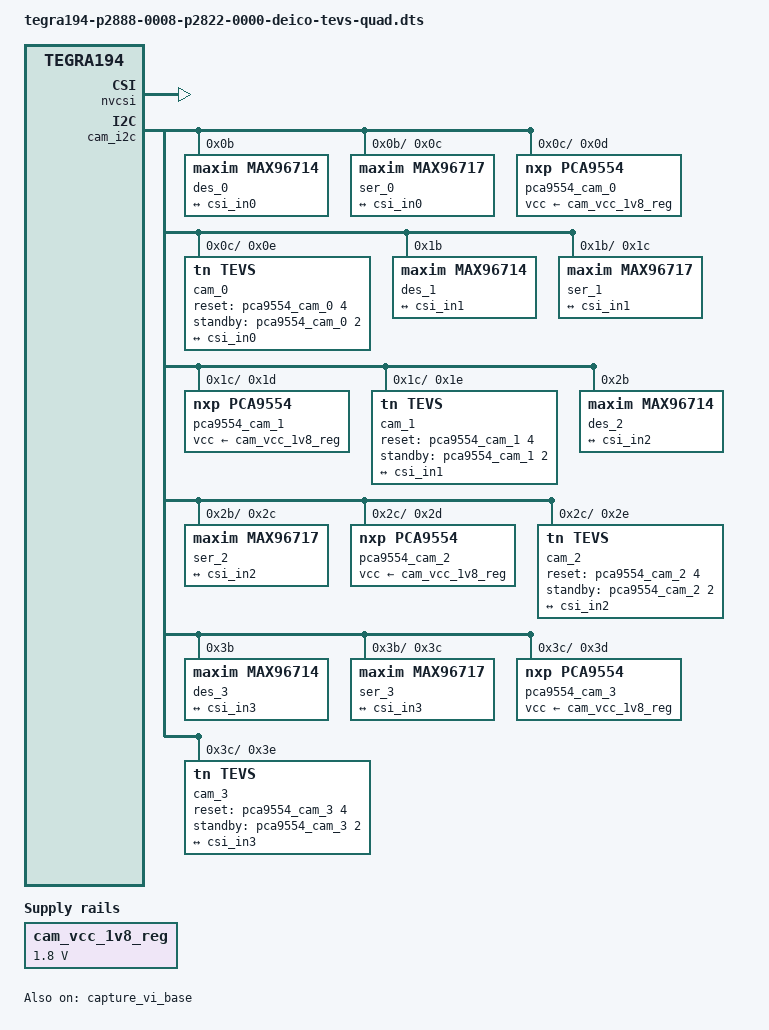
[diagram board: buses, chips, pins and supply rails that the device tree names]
// File: tegra194-p2888-0008-p2822-0000-deico-tevs-quad.dts
// DTS file hooking up a four cameras to all of the channels
// All four deserializer channels work at Pixel Mode

/dts-v1/;

#include "tegra194-p2888-0008-p2822-0000.dts"

#define CAM_LANES 			4          // number of CSI lanes used by each camera
#define CAM_LANES_STRING 	"4"
#define GMSL_CAM_NUM 		4	       // equals to number of cameras can be connected to your board
#define TOTAL_CSI_LANES 	(GMSL_CAM_NUM * CAM_LANES)
#define DES_LINK_FREQ 		1000000000 // min: 100000000, max: 1250000000, currently: 1GHz
#define CSI_FREQ 			500       // min: 100, max: 1200

/ {
	/*
	 * This is a new, virtual regulator definition that describes the
	 * discrete, always-on 1.8V power supply for our camera components.
	 * It does not control any hardware, it just provides a valid
	 * handle for drivers that require a power supply dependency.
	 */
	fixed-regulators {

		cam_vcc_1v8_reg: fixed-regulator-cam-1v8 {
			compatible = "regulator-fixed";
			regulator-name = "fixed-1.8v-cam-power";
			regulator-min-microvolt = <1800000>;
			regulator-max-microvolt = <1800000>;
			regulator-always-on;
		};
	};
};


&capture_vi_base { // /tegra-capture-vi
	status = "okay";
	num-channels = <GMSL_CAM_NUM>;

	ports {
		#address-cells = <1>;
		#size-cells = <0>;

		port@0 {
			status = "okay";
			
			endpoint {	// vi_in0
				port-index = <0>;
				bus-width = <CAM_LANES>;
				remote-endpoint = <&csi_out0>;
				vc-id = <0x00>;
				status = "okay";
			};
		};

		port@1 {
			status = "okay";
			
			endpoint {	// vi_in1
				port-index = <2>;
				bus-width = <CAM_LANES>;
				remote-endpoint = <&csi_out1>;
				vc-id = <0x00>;
				status = "okay";
			};
		};

		port@2 {
			status = "okay";
			
			endpoint {	// vi_in2
				port-index = <4>;
				bus-width = <CAM_LANES>;
				remote-endpoint = <&csi_out2>;
				vc-id = <0x00>;
				status = "okay";
			};
		};

		port@3 {
			status = "okay";
			
			endpoint {	// vi_in3
				port-index = <5>;	//Should match stream-index of vi
				bus-width = <CAM_LANES>;
				remote-endpoint = <&csi_out3>;
				vc-id = <0x00>;
				status = "okay";
			};
		};
	};
};

&nvcsi { // /host1x@13e00000/nvcsi@15a00000
	status = "okay";
	num-channels = <GMSL_CAM_NUM>;

	channel@0 {
		status = "okay";

		ports {

			port@0 { // Sink port
				status = "okay";

				endpoint@0 {	// csi_in0
					port-index = <0>;
					bus-width = <CAM_LANES>;
					remote-endpoint = <&rpi22_tevs_0_out>;
					status = "okay";
				};
			};
			
			port@1 { // Source port
				status = "okay";

				endpoint@1 {	//csi_out0
					remote-endpoint = <&vi_in0>;
					status = "okay";
				};
			};
		};
	};

	channel@1 {
		status = "okay";

		ports {

			port@0 { // Sink port
				status = "okay";

				endpoint@2 {	// csi_in1
					port-index = <2>;
					bus-width = <CAM_LANES>;
					remote-endpoint = <&rpi22_tevs_1_out>;
					status = "okay";
				};
			};

			port@1 { // Source port
				status = "okay";

				endpoint@3 {	//csi_out1
					remote-endpoint = <&vi_in1>;
					status = "okay";
				};
			};
		};
	};
	
	channel@2 {
		status = "okay";

		ports {

			port@0 { // Sink port
				status = "okay";

				endpoint@4 {	// csi_in2
					port-index = <4>;
					bus-width = <CAM_LANES>;
					remote-endpoint = <&rpi22_tevs_2_out>;
					status = "okay";
				};
			};

			port@1 { // Source port
				status = "okay";

				endpoint@5 {	//csi_out2
					remote-endpoint = <&vi_in2>;
					status = "okay";
				};
			};
		};
	};
	
	channel@3 {
		status = "okay";

		ports {

			port@0 { // Sink port
				status = "okay";

				endpoint@6 {	// csi_in3
					port-index = <6>;
					bus-width = <CAM_LANES>;
					remote-endpoint = <&rpi22_tevs_3_out>;
					status = "okay";
				};
			};

			port@1 { // Source port
				status = "okay";

				endpoint@7 {	//csi_out3
					remote-endpoint = <&vi_in3>;
					status = "okay";
				};
			};
		};
	};
};

&tcp { // /tegra-camera-platform
	num_csi_lanes = <TOTAL_CSI_LANES>;	// total number of CSI lanes used by all cameras (4x1)
	max_lane_speed = <4000000>;
	min_bits_per_pixel = <16>;			// only this is updated
	vi_peak_byte_per_pixel = <2>;
	vi_bw_margin_pct = <25>;
	//max_pixel_rate = <240000>;
	//isp_peak_byte_per_pixel = <5>;
	//isp_bw_margin_pct = <25>;
	//tpg_max_iso = <0x3bc400>;

	modules {

		module0 {
			badge = "tevs_front";
			position = "front";
			//orientation = "1";
			status = "okay";

			drivernode0 {
				pcl_id = "v4l2_sensor";
				devname = "VLS-GM2-AR0234-Camera-1";
				proc-device-tree = "/proc/device-tree/i2c@3180000/gmsl-deserializer@0b/i2c@0/gmsl-serializer@0c/i2c@0/rpi22_tevs_0@0e";
				status = "okay";
			};
		};

		module1 {
			badge = "tevs_right";
			position = "right";
			//orientation = "1";
			status = "okay";

			drivernode0 {
				pcl_id = "v4l2_sensor";
				devname = "VLS-GM2-AR0234-Camera-2";
				proc-device-tree = "/proc/device-tree/i2c@3180000/gmsl-deserializer@1b/i2c@0/gmsl-serializer@1c/i2c@0/rpi22_tevs_1@1e";
				status = "okay";
			};
		};

		module2 {
			badge = "tevs_left";
			position = "left";
			//orientation = "1";
			status = "okay";

			drivernode0 {
				pcl_id = "v4l2_sensor";
				devname = "VLS-GM2-AR0234-Camera-3";
				proc-device-tree = "/proc/device-tree/i2c@3180000/gmsl-deserializer@2b/i2c@0/gmsl-serializer@2c/i2c@0/rpi22_tevs_2@2e";
				status = "okay";
			};
		};

		module3 {
			badge = "tevs_rear";
			position = "rear";
			//orientation = "1";
			status = "okay";

			drivernode0 {
				pcl_id = "v4l2_sensor";
				devname = "VLS-GM2-AR0234-Camera-4";
				proc-device-tree = "/proc/device-tree/i2c@3180000/gmsl-deserializer@3b/i2c@0/gmsl-serializer@3c/i2c@0/rpi22_tevs_3@3e";
				status = "okay";
			};
		};

	};
};

&cam_i2c { // /i2c@31800000
	status = "okay";

	des_0: gmsl-deserializer@0x0b {

		status = "okay";
		#address-cells = <1>;
		#size-cells = <0>;
		compatible = "maxim,max96714";
		reg = <0x0b>;
		phy-reg = <0x28>; // deserializer power-on I2C address, this address is instantly changed to 0x4a

		//reset-gpios = <&gpio CAM0_PWDN GPIO_ACTIVE_LOW>; // this will give a warning, add a dummy GPIO later

		i2c-addr-alias-map-local = <0x0c>;		// virtual I2C addresses assigned to the serializer
		i2c-addr-alias-map-remote = <0x40>; 	// actual I2C address of the serializer
		i2c-addr-alias-source-id = <0>;

		gpio-controller;
		#gpio-cells = <2>;
		gpio-ranges = <&des_0 0 0 12>;

		pinctrl-names = "default";
		pinctrl-0 = <&des_0_pinmux_default>;

		// Uncomment if you have frame sync feature:
		//fsync-mode = "external";

		des_0_pinmux_default: pinmux {
			mfp0_fsync {
				pins = "mfp0";
				function = "gpio";
				maxim,gmsl-tx = <1>;
				maxim,gmsl-tx-id = <0>;
				input-enable;
			};
		};

		// This basically uses the deserializer as a i2c mux device. 
		// Other parameters are for generic i2c-mux devices.
		i2c-mux { 

			#address-cells = <1>;
			#size-cells = <0>;

			compatible = "i2c-mux-gpio";
			i2c-parent = <&cam_i2c>;
			//mux-gpios = <&gpio_aon CAM_I2C_MUX GPIO_ACTIVE_HIGH>; //this is just to make the kernel happy, not necessary

			des_0_i2c_0: i2c@0 {
				#address-cells = <1>;
				#size-cells = <0>;

				reg = <0>;
			};
		};

		phy@0 {
			reg = <0>;
		};

		pipe@0 {
			reg = <0>;

			maxim,phy-id = <0>;
		};

		channel@0 {
			reg = <0>;
			label = "des_0_ch_0";

			maxim,phy-id = <0>;
			// Uncomment below to activate tunnel-mode otherwise, pixel-mode is selected
			//maxim,tunnel-mode; 

			clock-lanes = <0>;
			data-lanes = <1 2 3 4>;
			link-frequencies = /bits/ 64 <DES_LINK_FREQ>;
		};
	};

	des_1: gmsl-deserializer@0x1b {

		status = "okay";
		#address-cells = <1>;
		#size-cells = <0>;
		compatible = "maxim,max96714";
		reg = <0x1b>;
		phy-reg = <0x2a>; // deserializer power-on I2C address

		i2c-addr-alias-map-local = <0x1c>;		// virtual I2C addresses assigned to the serializer
		i2c-addr-alias-map-remote = <0x40>; 	// actual I2C address of the serializer
		i2c-addr-alias-source-id = <0>;

		gpio-controller;
		#gpio-cells = <2>;
		gpio-ranges = <&des_1 0 0 12>;

		pinctrl-names = "default";
		pinctrl-0 = <&des_1_pinmux_default>;

		// fsync-mode = "external";

		des_1_pinmux_default: pinmux {
			mfp0_fsync {
				pins = "mfp0";
				function = "gpio";
				maxim,gmsl-tx = <1>;
				maxim,gmsl-tx-id = <0>;
				input-enable;
			};
		};

		i2c-mux { 

			#address-cells = <1>;
			#size-cells = <0>;

			compatible = "i2c-mux-gpio";
			i2c-parent = <&cam_i2c>;

			des_1_i2c_0: i2c@0 {
				#address-cells = <1>;
				#size-cells = <0>;

				reg = <0>;
			};
		};

		phy@0 {
			reg = <0>;
		};

		pipe@0 {
			reg = <0>;

			maxim,phy-id = <0>;
		};

		channel@0 {
			reg = <0>;
			label = "des_1_ch_0";

			maxim,phy-id = <0>;
			// Uncomment below to activate tunnel-mode otherwise, pixel-mode is selected
			//maxim,tunnel-mode;

			clock-lanes = <0>;
			data-lanes = <1 2 3 4>;
			link-frequencies = /bits/ 64 <DES_LINK_FREQ>;
		};
	};

	des_2: gmsl-deserializer@0x2b {

		status = "okay";
		#address-cells = <1>;
		#size-cells = <0>;
		compatible = "maxim,max96714";
		reg = <0x2b>;
		phy-reg = <0x4c>; // deserializer power-on I2C address

		i2c-addr-alias-map-local = <0x2c>;		// virtual I2C addresses assigned to the serializer
		i2c-addr-alias-map-remote = <0x40>; 	// actual I2C address of the serializer
		i2c-addr-alias-source-id = <0>;

		gpio-controller;
		#gpio-cells = <2>;
		gpio-ranges = <&des_2 0 0 12>;

		pinctrl-names = "default";
		pinctrl-0 = <&des_2_pinmux_default>;

		// fsync-mode = "external";

		des_2_pinmux_default: pinmux {
			mfp0_fsync {
				pins = "mfp0";
				function = "gpio";
				maxim,gmsl-tx = <1>;
				maxim,gmsl-tx-id = <0>;
				input-enable;
			};
		};

		i2c-mux { 

			#address-cells = <1>;
			#size-cells = <0>;

			compatible = "i2c-mux-gpio";
			i2c-parent = <&cam_i2c>;

			des_2_i2c_0: i2c@0 {
				#address-cells = <1>;
				#size-cells = <0>;

				reg = <0>;
			};
		};

		phy@0 {
			reg = <0>;
		};

		pipe@0 {
			reg = <0>;

			maxim,phy-id = <0>;
		};

		channel@0 {
			reg = <0>;
			label = "des_2_ch_0";

			maxim,phy-id = <0>;
			// Uncomment below to activate tunnel-mode otherwise, pixel-mode is selected
			//maxim,tunnel-mode;

			clock-lanes = <0>;
			data-lanes = <1 2 3 4>;
			link-frequencies = /bits/ 64 <DES_LINK_FREQ>;
		};
	};

	des_3: gmsl-deserializer@0x3b {

		status = "okay";
		#address-cells = <1>;
		#size-cells = <0>;
		compatible = "maxim,max96714";
		reg = <0x3b>;
		phy-reg = <0x6a>; // deserializer power-on I2C address

		i2c-addr-alias-map-local = <0x3c>;		// virtual I2C addresses assigned to the serializer
		i2c-addr-alias-map-remote = <0x40>; 	// actual I2C address of the serializer
		i2c-addr-alias-source-id = <0>;

		gpio-controller;
		#gpio-cells = <2>;
		gpio-ranges = <&des_3 0 0 12>;

		pinctrl-names = "default";
		pinctrl-0 = <&des_3_pinmux_default>;

		// fsync-mode = "external";

		des_3_pinmux_default: pinmux {
			mfp0_fsync {
				pins = "mfp0";
				function = "gpio";
				maxim,gmsl-tx = <1>;
				maxim,gmsl-tx-id = <0>;
				input-enable;
			};
		};

		i2c-mux { 

			#address-cells = <1>;
			#size-cells = <0>;

			compatible = "i2c-mux-gpio";
			i2c-parent = <&cam_i2c>;

			des_3_i2c_0: i2c@0 {
				#address-cells = <1>;
				#size-cells = <0>;

				reg = <0>;
			};
		};

		phy@0 {
			reg = <0>;
		};

		pipe@0 {
			reg = <0>;

			maxim,phy-id = <0>;
		};

		channel@0 {
			reg = <0>;
			label = "des_3_ch_0";

			maxim,phy-id = <0>;
			// Uncomment below to activate tunnel-mode otherwise, pixel-mode is selected
			//maxim,tunnel-mode;

			clock-lanes = <0>;
			data-lanes = <1 2 3 4>;
			link-frequencies = /bits/ 64 <DES_LINK_FREQ>;
		};
	};
};

// SER0 -> CAM0 starts here
&des_0_i2c_0 {

	ser_0: gmsl-serializer@0c {
		status = "okay";
		#address-cells = <1>;
		#size-cells = <0>;
		compatible = "maxim,max96717";
		reg = <0x0c>;

		// i2c addr alias map "isp, gpio expander"
		i2c-addr-alias-map-local = <0x0e 0x0d>;	// virtual I2C addresses assigned to the devices
		i2c-addr-alias-map-remote = <0x48 0x25>;// actual I2C addresses of the devices

		gpio-controller;
		#gpio-cells = <2>;
		gpio-ranges = <&ser_0 0 0 11>;
		// Uncomment below to activate tunnel-mode otherwise, pixel-mode is selected
		//maxim,tunnel-mode;

		pinctrl-names = "default";
		pinctrl-0 = <&ser_0_pinmux_default>;

		ser_0_pinmux_default: pinmux {
			mfp0_fsync {
				pins = "mfp0";
				function = "gpio";
				maxim,gmsl-rx = <1>;
				maxim,gmsl-rx-id = <0>;
				output-enable;
				output-low;
			};
		};

		i2c-mux {
			#address-cells = <1>;
			#size-cells = <0>;

			compatible = "i2c-mux-gpio";
			i2c-parent = <&cam_i2c>;
			//mux-gpios = <&gpio_aon CAM_I2C_MUX GPIO_ACTIVE_HIGH>;

			ser_0_i2c_0: i2c@0 {
				#address-cells = <1>;
				#size-cells = <0>;

				reg = <0>;
			};
		};

		pipe@0 {
			reg = <0>;

			maxim,stream-id = <0>;
		};

		channel@0 {
			reg = <0>;
			label = "ser_0_ch_0";

			clock-lanes = <0>;
			data-lanes = <1 2 3 4>;
			clock-noncontinuous;
		};
	};
};

&ser_0_i2c_0 {
	pca9554_cam_0: pca9554@0d {
		compatible = "nxp,pca9554";
		reg = <0x0d>;
		gpio-controller;
		#gpio-cells = <2>;
		gpio-line-names = "EXPOSURE_TRIG_IN",
						"FLASH_OUT",
						"INFO_TRIG_IN",
						"CAMA_SHUTTER",
						"CSI_P1_nRST",
						"PWR_TIME0",
						"PWR_TIME1",
						"3V3_EN";
		vcc-supply = <&cam_vcc_1v8_reg>;
		vcc_lp = "vcc";
		status = "okay";
	};

	cam_0: rpi22_tevs_0@0e {
		compatible = "tn,tevs";
		reg = <0x0e>;
		status = "okay";

		reset-gpios = <&pca9554_cam_0 4 GPIO_ACTIVE_HIGH>;
		standby-gpios = <&pca9554_cam_0 2 GPIO_ACTIVE_HIGH>;
		data-lanes = <CAM_LANES>;
		data-frequency = <CSI_FREQ>;

		/* V4L2 device node location */
		devnode = "video0";
		/* Physical dimensions of sensor */
		physical_w = "3.680";
		physical_h = "2.760";
		sensor_model = "tevs";
		use_sensor_mode_id = "false";

		mode0 {
			mclk_khz = "24000";
			num_lanes = CAM_LANES_STRING;
			tegra_sinterface = "serial_a";
			phy_mode = "DPHY";
			discontinuous_clk = "yes";
			dpcm_enable = "false";
			cil_settletime = "0";

			active_w = "3280";
			active_h = "2464";
			mode_type = "yuv";
			pixel_phase = "uyvy";
			csi_pixel_bit_depth = "16";
			readout_orientation = "90";
			line_length = "3448";
			inherent_gain = "1";
			mclk_multiplier = "9.33";
			pix_clk_hz = "200000000";
			serdes_pix_clk_hz = "500000000";

			gain_factor = "16";
			framerate_factor = "1000000";
			exposure_factor = "1000000";
			min_gain_val = "16"; /* 1.00x */
			max_gain_val = "170"; /* 10.66x */
			step_gain_val = "1";
			default_gain = "16"; /* 1.00x */
			min_hdr_ratio = "1";
			max_hdr_ratio = "1";
			min_framerate = "2000000"; /* 2.0 fps */
			max_framerate = "21000000"; /* 21.0 fps */
			step_framerate = "1";
			default_framerate = "21000000"; /* 21.0 fps */
			min_exp_time = "13"; /* us */
			max_exp_time = "683709"; /* us */
			step_exp_time = "1";
			default_exp_time = "2495"; /* us */
			embedded_metadata_height = "0";
		};
		mode1 {
			mclk_khz = "24000";
			num_lanes = CAM_LANES_STRING;
			tegra_sinterface = "serial_a";
			phy_mode = "DPHY";
			discontinuous_clk = "yes";
			dpcm_enable = "false";
			cil_settletime = "0";

			active_w = "3280";
			active_h = "1848";
			mode_type = "yuv";
			pixel_phase = "uyvy";
			csi_pixel_bit_depth = "16";
			readout_orientation = "90";
			line_length = "3448";
			inherent_gain = "1";
			mclk_multiplier = "9.33";
			pix_clk_hz = "200000000";
			serdes_pix_clk_hz = "500000000";

			gain_factor = "16";
			framerate_factor = "1000000";
			exposure_factor = "1000000";
			min_gain_val = "16"; /* 1.00x */
			max_gain_val = "170"; /* 10.66x */
			step_gain_val = "1";
			default_gain = "16"; /* 1.00x */
			min_hdr_ratio = "1";
			max_hdr_ratio = "1";
			min_framerate = "2000000"; /* 2.0 fps */
			max_framerate = "28000000"; /* 28.0 fps */
			step_framerate = "1";
			default_framerate = "28000000"; /* 28.0 fps */
			min_exp_time = "13"; /* us */
			max_exp_time = "683709"; /* us */
			step_exp_time = "1";
			default_exp_time = "2495"; /* us */
			embedded_metadata_height = "0";
		};
		mode2 {
			mclk_khz = "24000";
			num_lanes = CAM_LANES_STRING;
			tegra_sinterface = "serial_a";
			phy_mode = "DPHY";
			discontinuous_clk = "yes";
			dpcm_enable = "false";
			cil_settletime = "0";

			active_w = "1920";
			active_h = "1080";
			mode_type = "yuv";
			pixel_phase = "uyvy";
			csi_pixel_bit_depth = "16";
			readout_orientation = "90";
			line_length = "3448";
			inherent_gain = "1";
			mclk_multiplier = "9.33";
			pix_clk_hz = "200000000";
			serdes_pix_clk_hz = "500000000";

			gain_factor = "16";
			framerate_factor = "1000000";
			exposure_factor = "1000000";
			min_gain_val = "16"; /* 1.00x */
			max_gain_val = "170"; /* 10.66x */
			step_gain_val = "1";
			default_gain = "16"; /* 1.00x */
			min_hdr_ratio = "1";
			max_hdr_ratio = "1";
			min_framerate = "2000000"; /* 2.0 fps */
			max_framerate = "30000000"; /* 30.0 fps */
			step_framerate = "1";
			default_framerate = "30000000"; /* 30.0 fps */
			min_exp_time = "13"; /* us */
			max_exp_time = "683709"; /* us */
			step_exp_time = "1";
			default_exp_time = "2495"; /* us */
			embedded_metadata_height = "0";
		};
		mode3 {
			mclk_khz = "24000";
			num_lanes = CAM_LANES_STRING;
			tegra_sinterface = "serial_a";
			phy_mode = "DPHY";
			discontinuous_clk = "yes";
			dpcm_enable = "false";
			cil_settletime = "0";

			active_w = "1640";
			active_h = "1232";
			mode_type = "yuv";
			pixel_phase = "uyvy";
			csi_pixel_bit_depth = "16";
			readout_orientation = "90";
			line_length = "3448";
			inherent_gain = "1";
			mclk_multiplier = "9.33";
			pix_clk_hz = "200000000";
			serdes_pix_clk_hz = "500000000";

			gain_factor = "16";
			framerate_factor = "1000000";
			exposure_factor = "1000000";
			min_gain_val = "16"; /* 1.00x */
			max_gain_val = "170"; /* 10.66x */
			step_gain_val = "1";
			default_gain = "16"; /* 1.00x */
			min_hdr_ratio = "1";
			max_hdr_ratio = "1";
			min_framerate = "2000000"; /* 2.0 fps */
			max_framerate = "30000000"; /* 60.0 fps */
			step_framerate = "1";
			default_framerate = "30000000"; /* 60.0 fps */
			min_exp_time = "13"; /* us */
			max_exp_time = "683709"; /* us */
			step_exp_time = "1";
			default_exp_time = "2495"; /* us */
			embedded_metadata_height = "0";
		};
		mode4 {
			mclk_khz = "24000";
			num_lanes = CAM_LANES_STRING;
			tegra_sinterface = "serial_a";
			phy_mode = "DPHY";
			discontinuous_clk = "yes";
			dpcm_enable = "false";
			cil_settletime = "0";

			active_w = "1280";
			active_h = "720";
			mode_type = "yuv";
			pixel_phase = "uyvy";
			csi_pixel_bit_depth = "16";
			readout_orientation = "90";
			line_length = "3448";
			inherent_gain = "1";
			mclk_multiplier = "9.33";
			pix_clk_hz = "200000000";
			serdes_pix_clk_hz = "500000000";

			gain_factor = "16";
			framerate_factor = "1000000";
			exposure_factor = "1000000";
			min_gain_val = "16"; /* 1.00x */
			max_gain_val = "170"; /* 10.66x */
			step_gain_val = "1";
			default_gain = "16"; /* 1.00x */
			min_hdr_ratio = "1";
			max_hdr_ratio = "1";
			min_framerate = "2000000"; /* 2.0 fps */
			max_framerate = "60000000"; /* 60.0 fps */
			step_framerate = "1";
			default_framerate = "60000000"; /* 60.0 fps */
			min_exp_time = "13"; /* us */
			max_exp_time = "683709"; /* us */
			step_exp_time = "1";
			default_exp_time = "2495"; /* us */
			embedded_metadata_height = "0";
		};
		mode5 {
			mclk_khz = "24000";
			num_lanes = CAM_LANES_STRING;
			tegra_sinterface = "serial_a";
			phy_mode = "DPHY";
			discontinuous_clk = "yes";
			dpcm_enable = "false";
			cil_settletime = "0";

			active_w = "640";
			active_h = "480";
			mode_type = "yuv";
			pixel_phase = "uyvy";
			csi_pixel_bit_depth = "16";
			readout_orientation = "90";
			line_length = "3448";
			inherent_gain = "1";
			mclk_multiplier = "9.33";
			pix_clk_hz = "200000000";
			serdes_pix_clk_hz = "500000000";

			gain_factor = "16";
			framerate_factor = "1000000";
			exposure_factor = "1000000";
			min_gain_val = "16"; /* 1.00x */
			max_gain_val = "170"; /* 10.66x */
			step_gain_val = "1";
			default_gain = "16"; /* 1.00x */
			min_hdr_ratio = "1";
			max_hdr_ratio = "1";
			min_framerate = "2000000"; /* 2.0 fps */
			max_framerate = "60000000"; /* 60.0 fps */
			step_framerate = "1";
			default_framerate = "60000000"; /* 60.0 fps */
			min_exp_time = "13"; /* us */
			max_exp_time = "683709"; /* us */
			step_exp_time = "1";
			default_exp_time = "2495"; /* us */
			embedded_metadata_height = "0";
		};
		ports {
			#address-cells = <1>;
			#size-cells = <0>;
			port@0 {
				reg = <0>;

				rpi22_tevs_0_out: endpoint {
					port-index = <0>;
					bus-width = <CAM_LANES>;
					remote-endpoint = <&csi_in0>;
				};
			};
		};
	};
};
// SER0 -> CAM0 ends here

// SER1 -> CAM1 starts here
&des_1_i2c_0 {

	ser_1: gmsl-serializer@1c {
		status = "okay";
		#address-cells = <1>;
		#size-cells = <0>;
		compatible = "maxim,max96717";
		reg = <0x1c>;

		// i2c addr alias map "isp, gpio expander"
		i2c-addr-alias-map-local = <0x1e 0x1d>;	// virtual I2C addresses assigned to the devices
		i2c-addr-alias-map-remote = <0x48 0x25>;// actual I2C addresses of the devices

		gpio-controller;
		#gpio-cells = <2>;
		gpio-ranges = <&ser_1 0 0 11>;
		// Uncomment below to activate tunnel-mode otherwise, pixel-mode is selected
		//maxim,tunnel-mode;

		pinctrl-names = "default";
		pinctrl-0 = <&ser_1_pinmux_default>;

		ser_1_pinmux_default: pinmux {
			mfp0_fsync {
				pins = "mfp0";
				function = "gpio";
				maxim,gmsl-rx = <1>;
				maxim,gmsl-rx-id = <0>;
				output-enable;
				output-low;
			};
		};

		i2c-mux {
			#address-cells = <1>;
			#size-cells = <0>;

			compatible = "i2c-mux-gpio";
			i2c-parent = <&cam_i2c>;

			ser_1_i2c_0: i2c@0 {
				#address-cells = <1>;
				#size-cells = <0>;

				reg = <0>;
			};
		};

		pipe@0 {
			reg = <0>;

			maxim,stream-id = <0>;
		};

		channel@0 {
			reg = <0>;
			label = "ser_1_ch_0";

			clock-lanes = <0>;
			data-lanes = <1 2 3 4>;
			clock-noncontinuous;
		};
	};
};

&ser_1_i2c_0 {
	pca9554_cam_1: pca9554@1d {
		compatible = "nxp,pca9554";
		reg = <0x1d>;
		gpio-controller;
		#gpio-cells = <2>;
		gpio-line-names = "EXPOSURE_TRIG_IN",
						"FLASH_OUT",
						"INFO_TRIG_IN",
						"CAMA_SHUTTER",
						"CSI_P1_nRST",
						"PWR_TIME0",
						"PWR_TIME1",
						"3V3_EN";
		vcc-supply = <&cam_vcc_1v8_reg>;
		vcc_lp = "vcc";
		status = "okay";
	};

	cam_1: rpi22_tevs_1@1e {
		compatible = "tn,tevs";
		reg = <0x1e>;
		status = "okay";

		reset-gpios = <&pca9554_cam_1 4 GPIO_ACTIVE_HIGH>;
		standby-gpios = <&pca9554_cam_1 2 GPIO_ACTIVE_HIGH>;
		data-lanes = <CAM_LANES>;
		data-frequency = <560>;

		/* V4L2 device node location */
		devnode = "video1";
		/* Physical dimensions of sensor */
		physical_w = "3.680";
		physical_h = "2.760";
		sensor_model = "tevs";
		use_sensor_mode_id = "false";

		mode0 {
			mclk_khz = "24000";
			num_lanes = CAM_LANES_STRING;
			tegra_sinterface = "serial_c";
			phy_mode = "DPHY";
			discontinuous_clk = "yes";
			dpcm_enable = "false";
			cil_settletime = "0";

			active_w = "3280";
			active_h = "2464";
			mode_type = "yuv";
			pixel_phase = "uyvy";
			csi_pixel_bit_depth = "16";
			readout_orientation = "90";
			line_length = "3448";
			inherent_gain = "1";
			mclk_multiplier = "9.33";
			pix_clk_hz = "200000000";
			serdes_pix_clk_hz = "500000000";

			gain_factor = "16";
			framerate_factor = "1000000";
			exposure_factor = "1000000";
			min_gain_val = "16"; /* 1.00x */
			max_gain_val = "170"; /* 10.66x */
			step_gain_val = "1";
			default_gain = "16"; /* 1.00x */
			min_hdr_ratio = "1";
			max_hdr_ratio = "1";
			min_framerate = "2000000"; /* 2.0 fps */
			max_framerate = "21000000"; /* 21.0 fps */
			step_framerate = "1";
			default_framerate = "21000000"; /* 21.0 fps */
			min_exp_time = "13"; /* us */
			max_exp_time = "683709"; /* us */
			step_exp_time = "1";
			default_exp_time = "2495"; /* us */
			embedded_metadata_height = "0";
		};
		mode1 {
			mclk_khz = "24000";
			num_lanes = CAM_LANES_STRING;
			tegra_sinterface = "serial_c";
			phy_mode = "DPHY";
			discontinuous_clk = "yes";
			dpcm_enable = "false";
			cil_settletime = "0";

			active_w = "3280";
			active_h = "1848";
			mode_type = "yuv";
			pixel_phase = "uyvy";
			csi_pixel_bit_depth = "16";
			readout_orientation = "90";
			line_length = "3448";
			inherent_gain = "1";
			mclk_multiplier = "9.33";
			pix_clk_hz = "200000000";
			serdes_pix_clk_hz = "500000000";

			gain_factor = "16";
			framerate_factor = "1000000";
			exposure_factor = "1000000";
			min_gain_val = "16"; /* 1.00x */
			max_gain_val = "170"; /* 10.66x */
			step_gain_val = "1";
			default_gain = "16"; /* 1.00x */
			min_hdr_ratio = "1";
			max_hdr_ratio = "1";
			min_framerate = "2000000"; /* 2.0 fps */
			max_framerate = "28000000"; /* 28.0 fps */
			step_framerate = "1";
			default_framerate = "28000000"; /* 28.0 fps */
			min_exp_time = "13"; /* us */
			max_exp_time = "683709"; /* us */
			step_exp_time = "1";
			default_exp_time = "2495"; /* us */
			embedded_metadata_height = "0";
		};
		mode2 {
			mclk_khz = "24000";
			num_lanes = CAM_LANES_STRING;
			tegra_sinterface = "serial_c";
			phy_mode = "DPHY";
			discontinuous_clk = "yes";
			dpcm_enable = "false";
			cil_settletime = "0";

			active_w = "1920";
			active_h = "1080";
			mode_type = "yuv";
			pixel_phase = "uyvy";
			csi_pixel_bit_depth = "16";
			readout_orientation = "90";
			line_length = "3448";
			inherent_gain = "1";
			mclk_multiplier = "9.33";
			pix_clk_hz = "200000000";
			serdes_pix_clk_hz = "500000000";

			gain_factor = "16";
			framerate_factor = "1000000";
			exposure_factor = "1000000";
			min_gain_val = "16"; /* 1.00x */
			max_gain_val = "170"; /* 10.66x */
			step_gain_val = "1";
			default_gain = "16"; /* 1.00x */
			min_hdr_ratio = "1";
			max_hdr_ratio = "1";
			min_framerate = "2000000"; /* 2.0 fps */
			max_framerate = "30000000"; /* 30.0 fps */
			step_framerate = "1";
			default_framerate = "30000000"; /* 30.0 fps */
			min_exp_time = "13"; /* us */
			max_exp_time = "683709"; /* us */
			step_exp_time = "1";
			default_exp_time = "2495"; /* us */
			embedded_metadata_height = "0";
		};
		mode3 {
			mclk_khz = "24000";
			num_lanes = CAM_LANES_STRING;
			tegra_sinterface = "serial_c";
			phy_mode = "DPHY";
			discontinuous_clk = "yes";
			dpcm_enable = "false";
			cil_settletime = "0";

			active_w = "1640";
			active_h = "1232";
			mode_type = "yuv";
			pixel_phase = "uyvy";
			csi_pixel_bit_depth = "16";
			readout_orientation = "90";
			line_length = "3448";
			inherent_gain = "1";
			mclk_multiplier = "9.33";
			pix_clk_hz = "200000000";
			serdes_pix_clk_hz = "500000000";

			gain_factor = "16";
			framerate_factor = "1000000";
			exposure_factor = "1000000";
			min_gain_val = "16"; /* 1.00x */
			max_gain_val = "170"; /* 10.66x */
			step_gain_val = "1";
			default_gain = "16"; /* 1.00x */
			min_hdr_ratio = "1";
			max_hdr_ratio = "1";
			min_framerate = "2000000"; /* 2.0 fps */
			max_framerate = "30000000"; /* 60.0 fps */
			step_framerate = "1";
			default_framerate = "30000000"; /* 60.0 fps */
			min_exp_time = "13"; /* us */
			max_exp_time = "683709"; /* us */
			step_exp_time = "1";
			default_exp_time = "2495"; /* us */
			embedded_metadata_height = "0";
		};
		mode4 {
			mclk_khz = "24000";
			num_lanes = CAM_LANES_STRING;
			tegra_sinterface = "serial_c";
			phy_mode = "DPHY";
			discontinuous_clk = "yes";
			dpcm_enable = "false";
			cil_settletime = "0";

			active_w = "1280";
			active_h = "720";
			mode_type = "yuv";
			pixel_phase = "uyvy";
			csi_pixel_bit_depth = "16";
			readout_orientation = "90";
			line_length = "3448";
			inherent_gain = "1";
			mclk_multiplier = "9.33";
			pix_clk_hz = "200000000";
			serdes_pix_clk_hz = "500000000";

			gain_factor = "16";
			framerate_factor = "1000000";
			exposure_factor = "1000000";
			min_gain_val = "16"; /* 1.00x */
			max_gain_val = "170"; /* 10.66x */
			step_gain_val = "1";
			default_gain = "16"; /* 1.00x */
			min_hdr_ratio = "1";
			max_hdr_ratio = "1";
			min_framerate = "2000000"; /* 2.0 fps */
			max_framerate = "60000000"; /* 60.0 fps */
			step_framerate = "1";
			default_framerate = "60000000"; /* 60.0 fps */
			min_exp_time = "13"; /* us */
			max_exp_time = "683709"; /* us */
			step_exp_time = "1";
			default_exp_time = "2495"; /* us */
			embedded_metadata_height = "0";
		};
		mode5 {
			mclk_khz = "24000";
			num_lanes = CAM_LANES_STRING;
			tegra_sinterface = "serial_c";
			phy_mode = "DPHY";
			discontinuous_clk = "yes";
			dpcm_enable = "false";
			cil_settletime = "0";

			active_w = "640";
			active_h = "480";
			mode_type = "yuv";
			pixel_phase = "uyvy";
			csi_pixel_bit_depth = "16";
			readout_orientation = "90";
			line_length = "3448";
			inherent_gain = "1";
			mclk_multiplier = "9.33";
			pix_clk_hz = "200000000";
			serdes_pix_clk_hz = "500000000";

			gain_factor = "16";
			framerate_factor = "1000000";
			exposure_factor = "1000000";
			min_gain_val = "16"; /* 1.00x */
			max_gain_val = "170"; /* 10.66x */
			step_gain_val = "1";
			default_gain = "16"; /* 1.00x */
			min_hdr_ratio = "1";
			max_hdr_ratio = "1";
			min_framerate = "2000000"; /* 2.0 fps */
			max_framerate = "60000000"; /* 60.0 fps */
			step_framerate = "1";
			default_framerate = "60000000"; /* 60.0 fps */
			min_exp_time = "13"; /* us */
			max_exp_time = "683709"; /* us */
			step_exp_time = "1";
			default_exp_time = "2495"; /* us */
			embedded_metadata_height = "0";
		};
		ports {
			#address-cells = <1>;
			#size-cells = <0>;
			port@0 {
				reg = <0>;

				rpi22_tevs_1_out: endpoint {
					port-index = <2>;
					bus-width = <CAM_LANES>;
					remote-endpoint = <&csi_in1>;
				};
			};
		};
	};
};
// SER1 -> CAM1 ends here

// SER2 -> CAM2 starts here
&des_2_i2c_0 {

	ser_2: gmsl-serializer@2c {
		status = "okay";
		#address-cells = <1>;
		#size-cells = <0>;
		compatible = "maxim,max96717";
		reg = <0x2c>;

		// i2c addr alias map "isp, gpio expander"
		i2c-addr-alias-map-local = <0x2e 0x2d>;	// virtual I2C addresses assigned to the devices
		i2c-addr-alias-map-remote = <0x48 0x25>;// actual I2C addresses of the devices

		gpio-controller;
		#gpio-cells = <2>;
		gpio-ranges = <&ser_2 0 0 11>;
		// Uncomment below to activate tunnel-mode otherwise, pixel-mode is selected
		//maxim,tunnel-mode;

		pinctrl-names = "default";
		pinctrl-0 = <&ser_2_pinmux_default>;

		ser_2_pinmux_default: pinmux {
			mfp0_fsync {
				pins = "mfp0";
				function = "gpio";
				maxim,gmsl-rx = <1>;
				maxim,gmsl-rx-id = <0>;
				output-enable;
				output-low;
			};
		};

		i2c-mux {
			#address-cells = <1>;
			#size-cells = <0>;

			compatible = "i2c-mux-gpio";
			i2c-parent = <&cam_i2c>;

			ser_2_i2c_0: i2c@0 {
				#address-cells = <1>;
				#size-cells = <0>;

				reg = <0>;
			};
		};

		pipe@0 {
			reg = <0>;

			maxim,stream-id = <0>;
		};

		channel@0 {
			reg = <0>;
			label = "ser_2_ch_0";

			clock-lanes = <0>;
			data-lanes = <1 2 3 4>;
			clock-noncontinuous;
		};
	};
};

&ser_2_i2c_0 {
	pca9554_cam_2: pca9554@2d {
		compatible = "nxp,pca9554";
		reg = <0x2d>;
		gpio-controller;
		#gpio-cells = <2>;
		gpio-line-names = "EXPOSURE_TRIG_IN",
						"FLASH_OUT",
						"INFO_TRIG_IN",
						"CAMA_SHUTTER",
						"CSI_P1_nRST",
						"PWR_TIME0",
						"PWR_TIME1",
						"3V3_EN";
		vcc-supply = <&cam_vcc_1v8_reg>;
		vcc_lp = "vcc";
		status = "okay";
	};

	cam_2: rpi22_tevs_2@2e {
		compatible = "tn,tevs";
		reg = <0x2e>;
		status = "okay";

		reset-gpios = <&pca9554_cam_2 4 GPIO_ACTIVE_HIGH>;
		standby-gpios = <&pca9554_cam_2 2 GPIO_ACTIVE_HIGH>;
		data-lanes = <CAM_LANES>;
		data-frequency = <CSI_FREQ>;

		/* V4L2 device node location */
		devnode = "video2";
		/* Physical dimensions of sensor */
		physical_w = "3.680";
		physical_h = "2.760";
		sensor_model = "tevs";
		use_sensor_mode_id = "false";

		mode0 {
			mclk_khz = "24000";
			num_lanes = CAM_LANES_STRING;
			tegra_sinterface = "serial_e";
			phy_mode = "DPHY";
			discontinuous_clk = "yes";
			dpcm_enable = "false";
			cil_settletime = "0";

			active_w = "3280";
			active_h = "2464";
			mode_type = "yuv";
			pixel_phase = "uyvy";
			csi_pixel_bit_depth = "16";
			readout_orientation = "90";
			line_length = "3448";
			inherent_gain = "1";
			mclk_multiplier = "9.33";
			pix_clk_hz = "200000000";
			serdes_pix_clk_hz = "500000000";

			gain_factor = "16";
			framerate_factor = "1000000";
			exposure_factor = "1000000";
			min_gain_val = "16"; /* 1.00x */
			max_gain_val = "170"; /* 10.66x */
			step_gain_val = "1";
			default_gain = "16"; /* 1.00x */
			min_hdr_ratio = "1";
			max_hdr_ratio = "1";
			min_framerate = "2000000"; /* 2.0 fps */
			max_framerate = "21000000"; /* 21.0 fps */
			step_framerate = "1";
			default_framerate = "21000000"; /* 21.0 fps */
			min_exp_time = "13"; /* us */
			max_exp_time = "683709"; /* us */
			step_exp_time = "1";
			default_exp_time = "2495"; /* us */
			embedded_metadata_height = "0";
		};
		mode1 {
			mclk_khz = "24000";
			num_lanes = CAM_LANES_STRING;
			tegra_sinterface = "serial_e";
			phy_mode = "DPHY";
			discontinuous_clk = "yes";
			dpcm_enable = "false";
			cil_settletime = "0";

			active_w = "3280";
			active_h = "1848";
			mode_type = "yuv";
			pixel_phase = "uyvy";
			csi_pixel_bit_depth = "16";
			readout_orientation = "90";
			line_length = "3448";
			inherent_gain = "1";
			mclk_multiplier = "9.33";
			pix_clk_hz = "200000000";
			serdes_pix_clk_hz = "500000000";

			gain_factor = "16";
			framerate_factor = "1000000";
			exposure_factor = "1000000";
			min_gain_val = "16"; /* 1.00x */
			max_gain_val = "170"; /* 10.66x */
			step_gain_val = "1";
			default_gain = "16"; /* 1.00x */
			min_hdr_ratio = "1";
			max_hdr_ratio = "1";
			min_framerate = "2000000"; /* 2.0 fps */
			max_framerate = "28000000"; /* 28.0 fps */
			step_framerate = "1";
			default_framerate = "28000000"; /* 28.0 fps */
			min_exp_time = "13"; /* us */
			max_exp_time = "683709"; /* us */
			step_exp_time = "1";
			default_exp_time = "2495"; /* us */
			embedded_metadata_height = "0";
		};
		mode2 {
			mclk_khz = "24000";
			num_lanes = CAM_LANES_STRING;
			tegra_sinterface = "serial_e";
			phy_mode = "DPHY";
			discontinuous_clk = "yes";
			dpcm_enable = "false";
			cil_settletime = "0";

			active_w = "1920";
			active_h = "1080";
			mode_type = "yuv";
			pixel_phase = "uyvy";
			csi_pixel_bit_depth = "16";
			readout_orientation = "90";
			line_length = "3448";
			inherent_gain = "1";
			mclk_multiplier = "9.33";
			pix_clk_hz = "200000000";
			serdes_pix_clk_hz = "500000000";

			gain_factor = "16";
			framerate_factor = "1000000";
			exposure_factor = "1000000";
			min_gain_val = "16"; /* 1.00x */
			max_gain_val = "170"; /* 10.66x */
			step_gain_val = "1";
			default_gain = "16"; /* 1.00x */
			min_hdr_ratio = "1";
			max_hdr_ratio = "1";
			min_framerate = "2000000"; /* 2.0 fps */
			max_framerate = "30000000"; /* 30.0 fps */
			step_framerate = "1";
			default_framerate = "30000000"; /* 30.0 fps */
			min_exp_time = "13"; /* us */
			max_exp_time = "683709"; /* us */
			step_exp_time = "1";
			default_exp_time = "2495"; /* us */
			embedded_metadata_height = "0";
		};
		mode3 {
			mclk_khz = "24000";
			num_lanes = CAM_LANES_STRING;
			tegra_sinterface = "serial_e";
			phy_mode = "DPHY";
			discontinuous_clk = "yes";
			dpcm_enable = "false";
			cil_settletime = "0";

			active_w = "1640";
			active_h = "1232";
			mode_type = "yuv";
			pixel_phase = "uyvy";
			csi_pixel_bit_depth = "16";
			readout_orientation = "90";
			line_length = "3448";
			inherent_gain = "1";
			mclk_multiplier = "9.33";
			pix_clk_hz = "200000000";
			serdes_pix_clk_hz = "500000000";

			gain_factor = "16";
			framerate_factor = "1000000";
			exposure_factor = "1000000";
			min_gain_val = "16"; /* 1.00x */
			max_gain_val = "170"; /* 10.66x */
			step_gain_val = "1";
			default_gain = "16"; /* 1.00x */
			min_hdr_ratio = "1";
			max_hdr_ratio = "1";
			min_framerate = "2000000"; /* 2.0 fps */
			max_framerate = "30000000"; /* 60.0 fps */
			step_framerate = "1";
			default_framerate = "30000000"; /* 60.0 fps */
			min_exp_time = "13"; /* us */
			max_exp_time = "683709"; /* us */
			step_exp_time = "1";
			default_exp_time = "2495"; /* us */
			embedded_metadata_height = "0";
		};
		mode4 {
			mclk_khz = "24000";
			num_lanes = CAM_LANES_STRING;
			tegra_sinterface = "serial_e";
			phy_mode = "DPHY";
			discontinuous_clk = "yes";
			dpcm_enable = "false";
			cil_settletime = "0";

			active_w = "1280";
			active_h = "720";
			mode_type = "yuv";
			pixel_phase = "uyvy";
			csi_pixel_bit_depth = "16";
			readout_orientation = "90";
			line_length = "3448";
			inherent_gain = "1";
			mclk_multiplier = "9.33";
			pix_clk_hz = "200000000";
			serdes_pix_clk_hz = "500000000";

			gain_factor = "16";
			framerate_factor = "1000000";
			exposure_factor = "1000000";
			min_gain_val = "16"; /* 1.00x */
			max_gain_val = "170"; /* 10.66x */
			step_gain_val = "1";
			default_gain = "16"; /* 1.00x */
			min_hdr_ratio = "1";
			max_hdr_ratio = "1";
			min_framerate = "2000000"; /* 2.0 fps */
			max_framerate = "60000000"; /* 60.0 fps */
			step_framerate = "1";
			default_framerate = "60000000"; /* 60.0 fps */
			min_exp_time = "13"; /* us */
			max_exp_time = "683709"; /* us */
			step_exp_time = "1";
			default_exp_time = "2495"; /* us */
			embedded_metadata_height = "0";
		};
		mode5 {
			mclk_khz = "24000";
			num_lanes = CAM_LANES_STRING;
			tegra_sinterface = "serial_e";
			phy_mode = "DPHY";
			discontinuous_clk = "yes";
			dpcm_enable = "false";
			cil_settletime = "0";

			active_w = "640";
			active_h = "480";
			mode_type = "yuv";
			pixel_phase = "uyvy";
			csi_pixel_bit_depth = "16";
			readout_orientation = "90";
			line_length = "3448";
			inherent_gain = "1";
			mclk_multiplier = "9.33";
			pix_clk_hz = "200000000";
			serdes_pix_clk_hz = "500000000";

			gain_factor = "16";
			framerate_factor = "1000000";
			exposure_factor = "1000000";
			min_gain_val = "16"; /* 1.00x */
			max_gain_val = "170"; /* 10.66x */
			step_gain_val = "1";
			default_gain = "16"; /* 1.00x */
			min_hdr_ratio = "1";
			max_hdr_ratio = "1";
			min_framerate = "2000000"; /* 2.0 fps */
			max_framerate = "60000000"; /* 60.0 fps */
			step_framerate = "1";
			default_framerate = "60000000"; /* 60.0 fps */
			min_exp_time = "13"; /* us */
			max_exp_time = "683709"; /* us */
			step_exp_time = "1";
			default_exp_time = "2495"; /* us */
			embedded_metadata_height = "0";
		};
		ports {
			#address-cells = <1>;
			#size-cells = <0>;
			port@0 {
				reg = <0>;

				rpi22_tevs_2_out: endpoint {
					port-index = <4>;
					bus-width = <CAM_LANES>;
					remote-endpoint = <&csi_in2>;
				};
			};
		};
	};
};
// SER2 -> CAM2 ends here

// SER3 -> CAM3 starts here
&des_3_i2c_0 {

	ser_3: gmsl-serializer@3c {
		status = "okay";
		#address-cells = <1>;
		#size-cells = <0>;
		compatible = "maxim,max96717";
		reg = <0x3c>;

		// i2c addr alias map "isp, gpio expander"
		i2c-addr-alias-map-local = <0x3e 0x3d>;	// virtual I2C addresses assigned to the devices
		i2c-addr-alias-map-remote = <0x48 0x25>;// actual I2C addresses of the devices

		gpio-controller;
		#gpio-cells = <2>;
		gpio-ranges = <&ser_3 0 0 11>;
		// Uncomment below to activate tunnel-mode otherwise, pixel-mode is selected
		//maxim,tunnel-mode;

		pinctrl-names = "default";
		pinctrl-0 = <&ser_3_pinmux_default>;

		ser_3_pinmux_default: pinmux {
			mfp0_fsync {
				pins = "mfp0";
				function = "gpio";
				maxim,gmsl-rx = <1>;
				maxim,gmsl-rx-id = <0>;
				output-enable;
				output-low;
			};
		};

		i2c-mux {
			#address-cells = <1>;
			#size-cells = <0>;

			compatible = "i2c-mux-gpio";
			i2c-parent = <&cam_i2c>;

			ser_3_i2c_0: i2c@0 {
				#address-cells = <1>;
				#size-cells = <0>;

				reg = <0>;
			};
		};

		pipe@0 {
			reg = <0>;

			maxim,stream-id = <0>;
		};

		channel@0 {
			reg = <0>;
			label = "ser_3_ch_0";

			clock-lanes = <0>;
			data-lanes = <1 2 3 4>;
			clock-noncontinuous;
		};
	};
};

&ser_3_i2c_0 {
	pca9554_cam_3: pca9554@3d {
		compatible = "nxp,pca9554";
		reg = <0x3d>;
		gpio-controller;
		#gpio-cells = <2>;
		gpio-line-names = "EXPOSURE_TRIG_IN",
						"FLASH_OUT",
						"INFO_TRIG_IN",
						"CAMA_SHUTTER",
						"CSI_P1_nRST",
						"PWR_TIME0",
						"PWR_TIME1",
						"3V3_EN";
		vcc-supply = <&cam_vcc_1v8_reg>;
		vcc_lp = "vcc";
		status = "okay";
	};

	cam_3: rpi22_tevs_3@3e {
		compatible = "tn,tevs";
		reg = <0x3e>;
		status = "okay";

		reset-gpios = <&pca9554_cam_3 4 GPIO_ACTIVE_HIGH>;
		standby-gpios = <&pca9554_cam_3 2 GPIO_ACTIVE_HIGH>;
		data-lanes = <CAM_LANES>;
		data-frequency = <560>;

		/* V4L2 device node location */
		devnode = "video3";
		/* Physical dimensions of sensor */
		physical_w = "3.680";
		physical_h = "2.760";
		sensor_model = "tevs";
		use_sensor_mode_id = "false";

		mode0 {
			mclk_khz = "24000";
			num_lanes = CAM_LANES_STRING;
			tegra_sinterface = "serial_g";
			phy_mode = "DPHY";
			discontinuous_clk = "yes";
			dpcm_enable = "false";
			cil_settletime = "0";

			active_w = "3280";
			active_h = "2464";
			mode_type = "yuv";
			pixel_phase = "uyvy";
			csi_pixel_bit_depth = "16";
			readout_orientation = "90";
			line_length = "3448";
			inherent_gain = "1";
			mclk_multiplier = "9.33";
			pix_clk_hz = "200000000";
			serdes_pix_clk_hz = "500000000";

			gain_factor = "16";
			framerate_factor = "1000000";
			exposure_factor = "1000000";
			min_gain_val = "16"; /* 1.00x */
			max_gain_val = "170"; /* 10.66x */
			step_gain_val = "1";
			default_gain = "16"; /* 1.00x */
			min_hdr_ratio = "1";
			max_hdr_ratio = "1";
			min_framerate = "2000000"; /* 2.0 fps */
			max_framerate = "21000000"; /* 21.0 fps */
			step_framerate = "1";
			default_framerate = "21000000"; /* 21.0 fps */
			min_exp_time = "13"; /* us */
			max_exp_time = "683709"; /* us */
			step_exp_time = "1";
			default_exp_time = "2495"; /* us */
			embedded_metadata_height = "0";
		};
		mode1 {
			mclk_khz = "24000";
			num_lanes = CAM_LANES_STRING;
			tegra_sinterface = "serial_g";
			phy_mode = "DPHY";
			discontinuous_clk = "yes";
			dpcm_enable = "false";
			cil_settletime = "0";

			active_w = "3280";
			active_h = "1848";
			mode_type = "yuv";
			pixel_phase = "uyvy";
			csi_pixel_bit_depth = "16";
			readout_orientation = "90";
			line_length = "3448";
			inherent_gain = "1";
			mclk_multiplier = "9.33";
			pix_clk_hz = "200000000";
			serdes_pix_clk_hz = "500000000";

			gain_factor = "16";
			framerate_factor = "1000000";
			exposure_factor = "1000000";
			min_gain_val = "16"; /* 1.00x */
			max_gain_val = "170"; /* 10.66x */
			step_gain_val = "1";
			default_gain = "16"; /* 1.00x */
			min_hdr_ratio = "1";
			max_hdr_ratio = "1";
			min_framerate = "2000000"; /* 2.0 fps */
			max_framerate = "28000000"; /* 28.0 fps */
			step_framerate = "1";
			default_framerate = "28000000"; /* 28.0 fps */
			min_exp_time = "13"; /* us */
			max_exp_time = "683709"; /* us */
			step_exp_time = "1";
			default_exp_time = "2495"; /* us */
			embedded_metadata_height = "0";
		};
		mode2 {
			mclk_khz = "24000";
			num_lanes = CAM_LANES_STRING;
			tegra_sinterface = "serial_g";
			phy_mode = "DPHY";
			discontinuous_clk = "yes";
			dpcm_enable = "false";
			cil_settletime = "0";

			active_w = "1920";
			active_h = "1080";
			mode_type = "yuv";
			pixel_phase = "uyvy";
			csi_pixel_bit_depth = "16";
			readout_orientation = "90";
			line_length = "3448";
			inherent_gain = "1";
			mclk_multiplier = "9.33";
			pix_clk_hz = "200000000";
			serdes_pix_clk_hz = "500000000";

			gain_factor = "16";
			framerate_factor = "1000000";
			exposure_factor = "1000000";
			min_gain_val = "16"; /* 1.00x */
			max_gain_val = "170"; /* 10.66x */
			step_gain_val = "1";
			default_gain = "16"; /* 1.00x */
			min_hdr_ratio = "1";
			max_hdr_ratio = "1";
			min_framerate = "2000000"; /* 2.0 fps */
			max_framerate = "30000000"; /* 30.0 fps */
			step_framerate = "1";
			default_framerate = "30000000"; /* 30.0 fps */
			min_exp_time = "13"; /* us */
			max_exp_time = "683709"; /* us */
			step_exp_time = "1";
			default_exp_time = "2495"; /* us */
			embedded_metadata_height = "0";
		};
		mode3 {
			mclk_khz = "24000";
			num_lanes = CAM_LANES_STRING;
			tegra_sinterface = "serial_g";
			phy_mode = "DPHY";
			discontinuous_clk = "yes";
			dpcm_enable = "false";
			cil_settletime = "0";

			active_w = "1640";
			active_h = "1232";
			mode_type = "yuv";
			pixel_phase = "uyvy";
			csi_pixel_bit_depth = "16";
			readout_orientation = "90";
			line_length = "3448";
			inherent_gain = "1";
			mclk_multiplier = "9.33";
			pix_clk_hz = "200000000";
			serdes_pix_clk_hz = "500000000";

			gain_factor = "16";
			framerate_factor = "1000000";
			exposure_factor = "1000000";
			min_gain_val = "16"; /* 1.00x */
			max_gain_val = "170"; /* 10.66x */
			step_gain_val = "1";
			default_gain = "16"; /* 1.00x */
			min_hdr_ratio = "1";
			max_hdr_ratio = "1";
			min_framerate = "2000000"; /* 2.0 fps */
			max_framerate = "30000000"; /* 60.0 fps */
			step_framerate = "1";
			default_framerate = "30000000"; /* 60.0 fps */
			min_exp_time = "13"; /* us */
			max_exp_time = "683709"; /* us */
			step_exp_time = "1";
			default_exp_time = "2495"; /* us */
			embedded_metadata_height = "0";
		};
		mode4 {
			mclk_khz = "24000";
			num_lanes = CAM_LANES_STRING;
			tegra_sinterface = "serial_g";
			phy_mode = "DPHY";
			discontinuous_clk = "yes";
			dpcm_enable = "false";
			cil_settletime = "0";

			active_w = "1280";
			active_h = "720";
			mode_type = "yuv";
			pixel_phase = "uyvy";
			csi_pixel_bit_depth = "16";
			readout_orientation = "90";
			line_length = "3448";
			inherent_gain = "1";
			mclk_multiplier = "9.33";
			pix_clk_hz = "200000000";
			serdes_pix_clk_hz = "500000000";

			gain_factor = "16";
			framerate_factor = "1000000";
			exposure_factor = "1000000";
			min_gain_val = "16"; /* 1.00x */
			max_gain_val = "170"; /* 10.66x */
			step_gain_val = "1";
			default_gain = "16"; /* 1.00x */
			min_hdr_ratio = "1";
			max_hdr_ratio = "1";
			min_framerate = "2000000"; /* 2.0 fps */
			max_framerate = "60000000"; /* 60.0 fps */
			step_framerate = "1";
			default_framerate = "60000000"; /* 60.0 fps */
			min_exp_time = "13"; /* us */
			max_exp_time = "683709"; /* us */
			step_exp_time = "1";
			default_exp_time = "2495"; /* us */
			embedded_metadata_height = "0";
		};
		mode5 {
			mclk_khz = "24000";
			num_lanes = CAM_LANES_STRING;
			tegra_sinterface = "serial_g";
			phy_mode = "DPHY";
			discontinuous_clk = "yes";
			dpcm_enable = "false";
			cil_settletime = "0";

			active_w = "640";
			active_h = "480";
			mode_type = "yuv";
			pixel_phase = "uyvy";
			csi_pixel_bit_depth = "16";
			readout_orientation = "90";
			line_length = "3448";
			inherent_gain = "1";
			mclk_multiplier = "9.33";
			pix_clk_hz = "200000000";
			serdes_pix_clk_hz = "500000000";

			gain_factor = "16";
			framerate_factor = "1000000";
			exposure_factor = "1000000";
			min_gain_val = "16"; /* 1.00x */
			max_gain_val = "170"; /* 10.66x */
			step_gain_val = "1";
			default_gain = "16"; /* 1.00x */
			min_hdr_ratio = "1";
			max_hdr_ratio = "1";
			min_framerate = "2000000"; /* 2.0 fps */
			max_framerate = "60000000"; /* 60.0 fps */
			step_framerate = "1";
			default_framerate = "60000000"; /* 60.0 fps */
			min_exp_time = "13"; /* us */
			max_exp_time = "683709"; /* us */
			step_exp_time = "1";
			default_exp_time = "2495"; /* us */
			embedded_metadata_height = "0";
		};
		ports {
			#address-cells = <1>;
			#size-cells = <0>;
			port@0 {
				reg = <0>;

				rpi22_tevs_3_out: endpoint {
					port-index = <6>;
					bus-width = <CAM_LANES>;
					remote-endpoint = <&csi_in3>;
				};
			};
		};
	};
};
// SER3 -> CAM3 ends here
